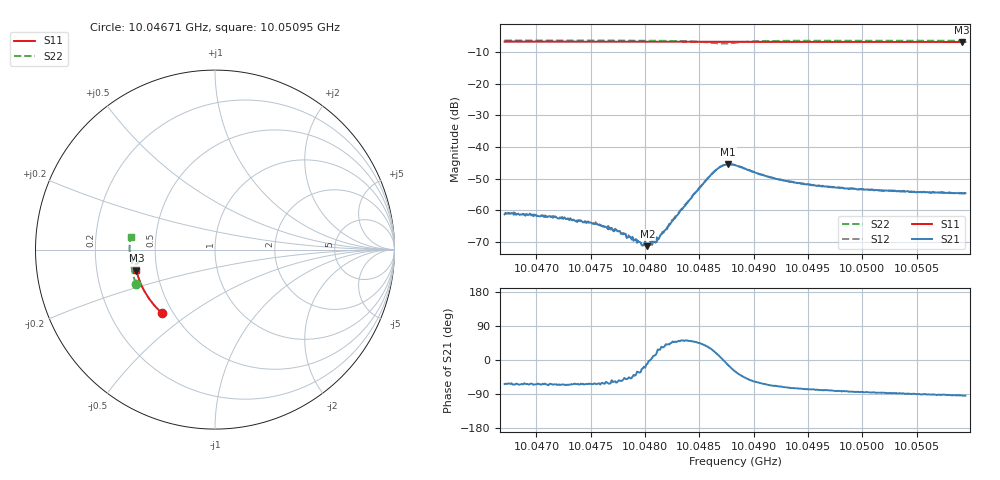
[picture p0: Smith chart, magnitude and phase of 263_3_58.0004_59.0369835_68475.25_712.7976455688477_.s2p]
#  HZ  S  RI  R  50.00
! Rohde & Schwarz Vector Network Analyzer
! Rohde-Schwarz,ZNB20-2Port,1311601062101988,3.16
! Created: UTC 3/21/2024, 1:02:04 AM
! freq[Hz]  re:S11  im:S11  re:S21  im:S21  re:S12  im:S12  re:S22  im:S22
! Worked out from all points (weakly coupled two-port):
!   401 points, 10.04671 GHz to 10.05095 GHz, reference 50 ohm
!   highest |S21| = -45.55 dB at 10.04876 GHz (marker M1); lowest = -71.4 dB at 10.04802 GHz (marker M2)
!   lowest |S11| = -6.9 dB at 10.05092 GHz (marker M3), VSWR 2.66, Z = 19.1 - j5.68 ohm
!   |S11| at or under -10 dB: nowhere
!   |S22| runs from -7.4 to -6.4 dB; largest |S21 - S12| = 0.00034
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1.0046707e10  -0.297 -0.3524  0.000384 -0.00077  0.00049 -0.000776  -0.4401 -0.1903
1.004694e10  -0.3084 -0.3418  0.0004 -0.000789  0.000423 -0.000723  -0.4457 -0.1755
1.0047173e10  -0.3192 -0.331  0.000342 -0.000716  0.000388 -0.000689  -0.4508 -0.1604
1.0047417e10  -0.3302 -0.3191  0.000294 -0.000603  0.00032 -0.000574  -0.4556 -0.1443
1.0047566e10  -0.3369 -0.3118  0.000271 -0.000519  0.000309 -0.000499  -0.4582 -0.134
1.0047746e10  -0.3446 -0.3028  0.000248 -0.000392  0.000286 -0.00037  -0.461 -0.1212
1.0047979e10  -0.3541 -0.2906  0.000255 -0.000103  0.000272 -9.41e-05  -0.4637 -0.1036
1.0048022e10  -0.3559 -0.2884  0.000266 -4.62e-05  0.00029 -4.04e-05  -0.4641 -0.1003
1.0048032e10  -0.3563 -0.2877  0.000281 -1.41e-05  0.000284 -2.13e-05  -0.4641 -0.0994
1.0048085e10  -0.3583 -0.2849  0.000321 6.51e-05  0.000321 8.12e-05  -0.4644 -0.0951
1.0048128e10  -0.3599 -0.2828  0.000315 0.00016  0.000317 0.00018  -0.4647 -0.0916
1.004834e10  -0.3682 -0.2715  0.000637 0.000799  0.000615 0.000848  -0.4627 -0.072
1.0048594e10  -0.3774 -0.2573  0.00292 0.0018  0.00283 0.00196  -0.4415 -0.0494
1.0048679e10  -0.3801 -0.2527  0.00457 0.000929  0.00453 0.00119  -0.4276 -0.0548
1.0048764e10  -0.3829 -0.2482  0.00514 -0.00119  0.00524 -0.000891  -0.4256 -0.0709
1.0048828e10  -0.3851 -0.2447  0.00444 -0.00256  0.00463 -0.00228  -0.4347 -0.0787
1.0049156e10  -0.3961 -0.226  0.00128 -0.00304  0.0015 -0.00295  -0.4673 -0.0572
1.0049538e10  -0.4074 -0.2034  0.000538 -0.00242  0.000661 -0.00241  -0.4746 -0.0255
1.0049856e10  -0.416 -0.1843  0.000314 -0.00217  0.000378 -0.00219  -0.4759 -0.0021
1.0050249e10  -0.4252 -0.1602  0.000104 -0.00204  0.000178 -0.00202  -0.4754 0.0255
1.0050917e10  -0.4376 -0.1182  -0.000113 -0.00184  -2.15e-06 -0.00186  -0.4705 0.0704
1.0050949e10  -0.4383 -0.1163  -0.000136 -0.00185  -2.11e-05 -0.00188  -0.4702 0.0725
